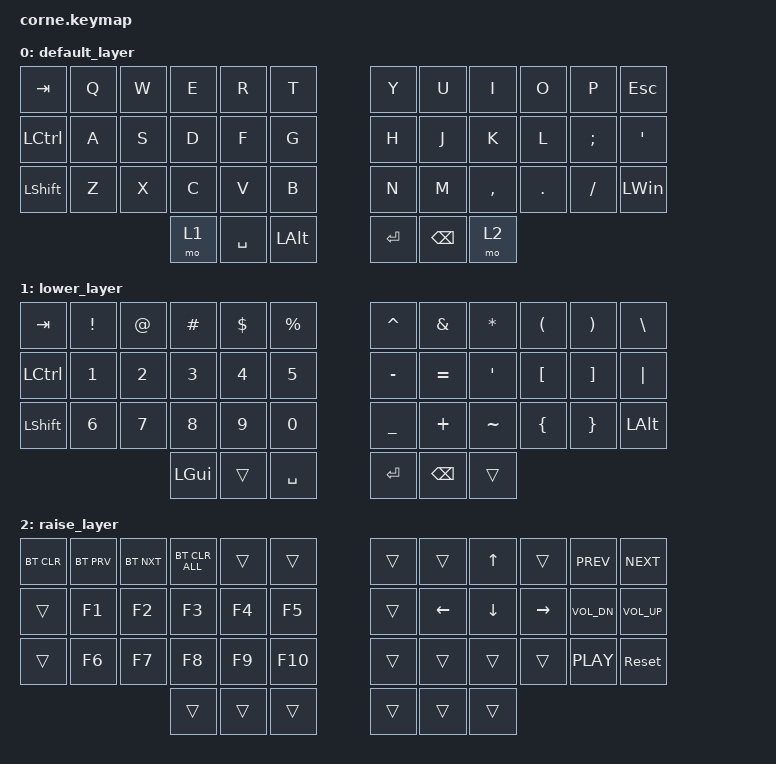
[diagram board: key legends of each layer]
/*
 * Copyright (c) 2020 The ZMK Contributors
 *
 * SPDX-License-Identifier: MIT
 */

#include <behaviors.dtsi>
#include <dt-bindings/zmk/bt.h>
#include <dt-bindings/zmk/keys.h>

/ {
    keymap {
        compatible = "zmk,keymap";

        default_layer {
            // -----------------------------------------------------------------------------------------
            // |  TAB |  Q  |  W  |  E  |  R  |  T  |   |  Y  |  U   |  I  |  O  |  P  | BSPC |
            // | CTRL |  A  |  S  |  D  |  F  |  G  |   |  H  |  J   |  K  |  L  |  ;  |  '   |
            // | SHFT |  Z  |  X  |  C  |  V  |  B  |   |  N  |  M   |  ,  |  .  |  /  | ESC  |
            //                    | GUI | LWR | SPC |   | ENT | RSE  | ALT |

            bindings = <
&kp TAB    &kp Q  &kp W  &kp E  &kp R      &kp T           &kp Y      &kp U          &kp I      &kp O    &kp P          &kp ESC
&kp LCTRL  &kp A  &kp S  &kp D  &kp F      &kp G           &kp H      &kp J          &kp K      &kp L    &kp SEMICOLON  &kp SQT
&kp LSHFT  &kp Z  &kp X  &kp C  &kp V      &kp B           &kp N      &kp M          &kp COMMA  &kp DOT  &kp FSLH       &kp LEFT_WIN
                         &mo 1  &kp SPACE  &kp LEFT_ALT    &kp ENTER  &kp BACKSPACE  &mo 2
            >;
        };

        lower_layer {
            // -----------------------------------------------------------------------------------------
            // |  TAB |  1  |  2  |  3  |  4  |  5  |   |  6  |  7  |  8  |  9  |  0  | BSPC |
            // | BTCLR| BT1 | BT2 | BT3 | BT4 | BT5 |   | LFT | DWN |  UP | RGT |     |      |
            // | SHFT |     |     |     |     |     |   |     |     |     |     |     |      |
            //                    | GUI |     | SPC |   | ENT |     | ALT |

            bindings = <
&kp TAB    &kp EXCL      &kp AT        &kp HASH      &kp DOLLAR    &kp PERCENT    &kp CARET       &kp AMPERSAND  &kp ASTRK         &kp LEFT_PARENTHESIS  &kp RIGHT_PARENTHESIS  &kp BACKSLASH
&kp LCTRL  &kp NUMBER_1  &kp NUMBER_2  &kp NUMBER_3  &kp NUMBER_4  &kp N5         &kp MINUS       &kp EQUAL      &kp SINGLE_QUOTE  &kp LEFT_BRACKET      &kp RIGHT_BRACKET      &kp PIPE
&kp LSHFT  &kp NUMBER_6  &kp N7        &kp N8        &kp N9        &kp N0         &kp UNDERSCORE  &kp PLUS       &kp TILDE         &kp LEFT_BRACE        &kp RIGHT_BRACE        &kp LEFT_ALT
                                       &kp LGUI      &trans        &kp SPACE      &kp RET         &kp BACKSPACE  &trans
            >;
        };

        raise_layer {
            // -----------------------------------------------------------------------------------------
            // |  TAB |  !  |  @  |  #  |  $  |  %  |   |  ^  |  &  |  *  |  (  |  )  | BSPC |
            // | CTRL |     |     |     |     |     |   |  -  |  =  |  [  |  ]  |  \  |  `   |
            // | SHFT |     |     |     |     |     |   |  _  |  +  |  {  |  }  | "|" |  ~   |
            //                    | GUI |     | SPC |   | ENT |     | ALT |

            bindings = <
&bt BT_CLR  &bt BT_PRV  &bt BT_NXT  &bt BT_CLR_ALL  &trans  &trans     &trans  &trans          &kp UP_ARROW  &trans     &kp C_PREV    &kp C_NEXT
&trans      &kp F1      &kp F2      &kp F3          &kp F4  &kp F5     &trans  &kp LEFT_ARROW  &kp DOWN      &kp RIGHT  &kp C_VOL_DN  &kp C_VOL_UP
&trans      &kp F6      &kp F7      &kp F8          &kp F9  &kp F10    &trans  &trans          &trans        &trans     &kp C_PLAY    &sys_reset
                                    &trans          &trans  &trans     &trans  &trans          &trans
            >;
        };
    };
};
